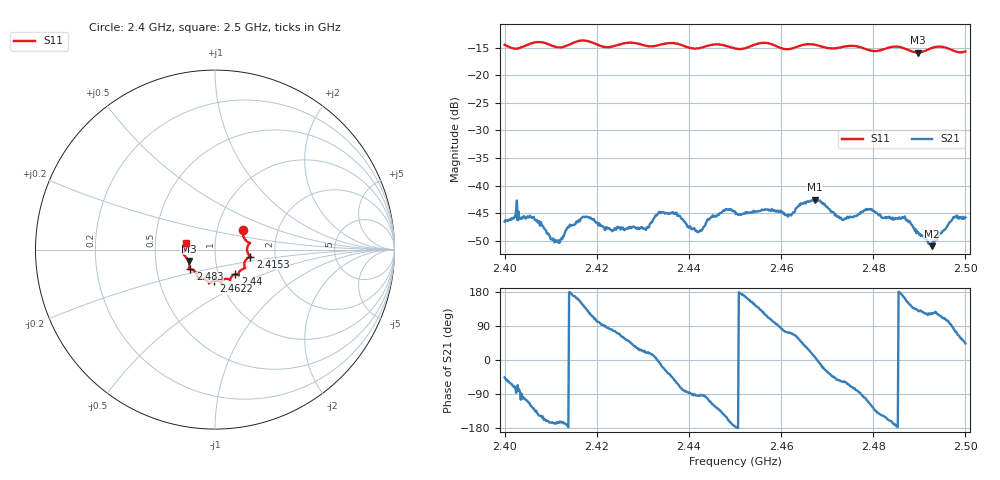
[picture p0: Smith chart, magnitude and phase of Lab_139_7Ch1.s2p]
# Hz S RI R 50
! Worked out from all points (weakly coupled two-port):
!   601 points, 2.4 GHz to 2.5 GHz, reference 50 ohm
!   highest |S21| = -42.57 dB at 2.4673 GHz (marker M1); lowest = -51.0 dB at 2.4927 GHz (marker M2)
!   lowest |S11| = -15.9 dB at 2.4897 GHz (marker M3), VSWR 1.38, Z = 36.9 - j4.81 ohm
!   |S11| at or under -10 dB: start of sweep to end of sweep
!   S12 and S22 are empty: the file has one direction only
!   S11 on the Smith chart (normalised r, x): 2.4 GHz: 1.33, +0.29; 2.4153 GHz: 1.48, -0.12; 2.44 GHz: 1.20, -0.34; 2.4622 GHz: 0.93, -0.33; 2.483 GHz: 0.74, -0.17; 2.5 GHz: 0.72, +0.06
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2.4e9  0.1552 0.1068  0.00329 -0.00339  0 0  0 0
2.405833e9  0.191 0.0384  -0.00273 -0.00432  0 0  0 0
2.411333e9  0.1794 0.00908  -0.00304 -0.000853  0 0  0 0
2.415333e9  0.1963 -0.0386  -0.00436 0.000964  0 0  0 0
2.416667e9  0.2019 -0.0424  -0.00437 0.00259  0 0  0 0
2.4305e9  0.1477 -0.1124  0.00374 0.00147  0 0  0 0
2.433333e9  0.131 -0.1336  0.00556 -0.000307  0 0  0 0
2.44e9  0.114 -0.1365  0.000153 -0.00415  0 0  0 0
2.442333e9  0.0933 -0.1496  -0.0003 -0.00383  0 0  0 0
2.445e9  0.0846 -0.1686  -0.00226 -0.00471  0 0  0 0
2.45e9  0.0645 -0.1625  -0.00582 -0.000489  0 0  0 0
2.462167e9  -0.00717 -0.1738  0.00182 0.00504  0 0  0 0
2.466667e9  -0.0342 -0.1878  0.00702 0.00221  0 0  0 0
2.467333e9  -0.0348 -0.1857  0.00737 0.000993  0 0  0 0
2.473167e9  -0.0813 -0.1606  0.00267 -0.00415  0 0  0 0
2.479e9  -0.1032 -0.1341  -0.00222 -0.00571  0 0  0 0
2.483e9  -0.1376 -0.1097  -0.00471 -0.00215  0 0  0 0
2.483333e9  -0.1402 -0.1096  -0.00474 -0.00192  0 0  0 0
2.489667e9  -0.1476 -0.0635  -0.00245 0.00281  0 0  0 0
2.492667e9  -0.1739 -0.0294  -0.00145 0.00242  0 0  0 0
2.497667e9  -0.1654 0.00115  0.00104 0.00504  0 0  0 0
2.5e9  -0.1596 0.0392  0.00373 0.00355  0 0  0 0
